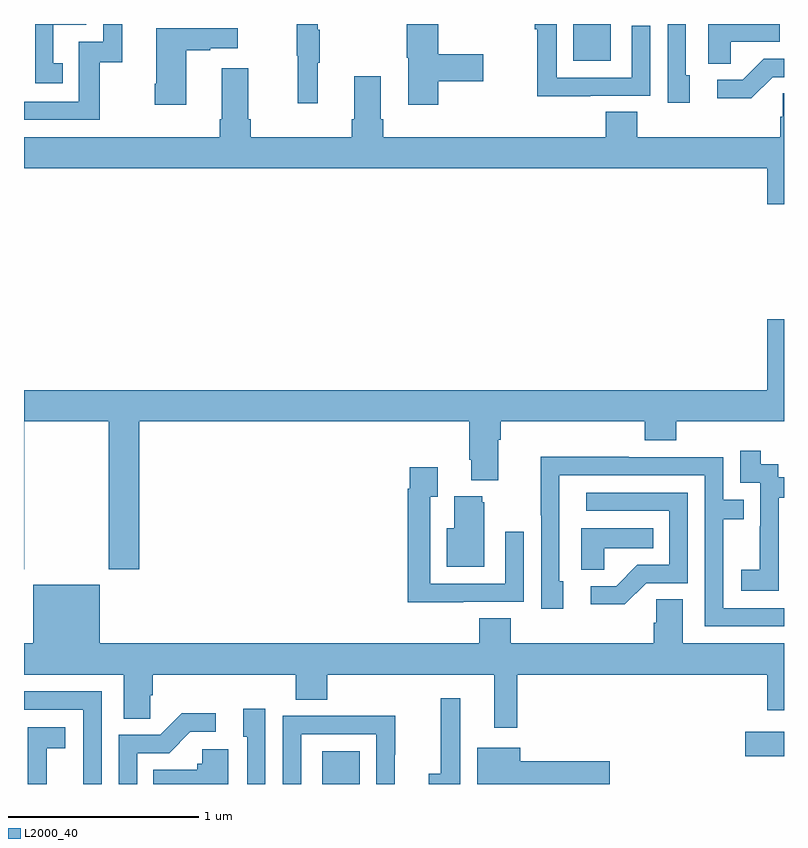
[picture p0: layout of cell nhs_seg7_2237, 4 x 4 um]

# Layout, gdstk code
import gdstk
lib = gdstk.Library(unit=1e-6, precision=1e-09)
def R(c, l, rs):  # rectangles x0, y0, x1, y1
    for r in rs: c.add(gdstk.rectangle(r[:2], r[2:], *l))
def P(c, l, *ps):  # polygons
    for p in ps: c.add(gdstk.Polygon(p, *l))
L2000_40 = (2000, 40)

nhs_seg7_2237 = lib.new_cell('nhs_seg7_2237')
R(nhs_seg7_2237, L2000_40, [(258.569,1040,258.766,1040.173), (260.796,1040.146,261,1040.275), (259.892,1043.807,260.089,1044)])
P(nhs_seg7_2237, L2000_40, [(258.545,1043.795),(258.556,1043.795),(258.556,1043.969),(258.545,1043.969),(258.545,1044),(258.435,1044),(258.435,1043.832),(258.442,1043.832),(258.442,1043.583),(258.545,1043.583)],
  [(260.721,1043.906),(260.978,1043.906),(260.978,1044),(260.6,1044),(260.6,1043.791),(260.721,1043.791)],
  [(257.398,1043.799),(257.516,1043.799),(257.516,1044),(257.418,1044),(257.418,1043.907),(257.289,1043.907),(257.289,1043.592),(257,1043.592),(257,1043.496),(257.398,1043.496)],
  [(257.204,1043.793),(257.155,1043.793),(257.155,1043.997),(257.328,1043.997),(257.328,1044),(257.058,1044),(257.058,1043.688),(257.204,1043.688)],
  [(259.979,1043.622),(260.295,1043.622),(260.295,1043.992),(260.199,1043.992),(260.199,1043.718),(259.803,1043.718),(259.803,1044),(259.687,1044),(259.687,1043.972),(259.702,1043.972),(259.702,1043.621),(259.979,1043.621)],
  [(259.181,1043.698),(259.416,1043.698),(259.416,1043.84),(259.181,1043.84),(259.181,1044),(259.015,1044),(259.015,1043.823),(259.022,1043.823),(259.022,1043.574),(259.181,1043.574)],
  [(260.503,1043.73),(260.484,1043.73),(260.484,1044),(260.388,1044),(260.388,1043.586),(260.503,1043.586)],
  [(257.854,1043.863),(257.981,1043.863),(257.981,1043.873),(258.124,1043.873),(258.124,1043.977),(257.696,1043.977),(257.696,1043.686),(257.689,1043.686),(257.689,1043.574),(257.854,1043.574)],
  [(260.94,1043.721),(261,1043.721),(261,1043.817),(260.894,1043.817),(260.783,1043.706),(260.649,1043.706),(260.649,1043.609),(260.827,1043.609)],
  [(261,1043.636),(260.994,1043.636),(260.994,1043.513),(260.981,1043.513),(260.981,1043.404),(260.228,1043.404),(260.228,1043.537),(260.063,1043.537),(260.063,1043.404),(258.89,1043.404),(258.89,1043.5),(258.877,1043.5),(258.877,1043.725),(258.737,1043.725),(258.737,1043.5),(258.725,1043.5),(258.725,1043.404),(258.194,1043.404),(258.194,1043.5),(258.181,1043.5),(258.181,1043.767),(258.041,1043.767),(258.041,1043.5),(258.029,1043.5),(258.029,1043.404),(257,1043.404),(257,1043.24),(260.912,1043.24),(260.912,1043.052),(261,1043.052)],
  [(257.001,1041.908),(257.446,1041.908),(257.446,1041.129),(257.606,1041.129),(257.606,1041.908),(259.343,1041.908),(259.343,1041.706),(259.355,1041.706),(259.355,1041.599),(259.495,1041.599),(259.495,1041.812),(259.508,1041.812),(259.508,1041.908),(260.267,1041.908),(260.267,1041.809),(260.432,1041.809),(260.432,1041.908),(261,1041.908),(261,1042.447),(260.912,1042.447),(260.912,1042.072),(257,1042.072),(257,1041.129),(257.001,1041.129)],
  [(260.973,1041.223),(260.972,1041.223),(260.972,1041.507),(261,1041.507),(261,1041.615),(260.97,1041.615),(260.97,1041.684),(260.878,1041.684),(260.878,1041.754),(260.769,1041.754),(260.769,1041.585),(260.874,1041.585),(260.874,1041.356),(260.873,1041.356),(260.873,1041.127),(260.775,1041.127),(260.775,1041.017),(260.973,1041.017)],
  [(261,1040.925),(260.679,1040.925),(260.679,1041.394),(260.789,1041.394),(260.789,1041.495),(260.679,1041.495),(260.679,1041.72),(260.183,1041.72),(260.183,1041.722),(259.72,1041.722),(259.72,1041.415),(259.722,1041.415),(259.722,1040.922),(259.837,1040.922),(259.837,1041.066),(259.818,1041.066),(259.818,1041.624),(260.583,1041.624),(260.583,1040.829),(261,1040.829)],
  [(259.313,1040.958),(259.629,1040.958),(259.629,1041.328),(259.533,1041.328),(259.533,1041.054),(259.137,1041.054),(259.137,1041.511),(259.177,1041.511),(259.177,1041.667),(259.029,1041.667),(259.029,1041.554),(259.021,1041.554),(259.021,1040.957),(259.313,1040.957)],
  [(260.274,1041.057),(260.493,1041.057),(260.493,1041.534),(259.959,1041.534),(259.959,1041.438),(260.397,1041.438),(260.397,1041.153),(260.228,1041.153),(260.117,1041.042),(259.983,1041.042),(259.983,1040.945),(260.161,1040.945)],
  [(259.423,1041.483),(259.412,1041.483),(259.412,1041.514),(259.265,1041.514),(259.265,1041.346),(259.226,1041.346),(259.226,1041.143),(259.423,1041.143)],
  [(260.055,1041.242),(260.312,1041.242),(260.312,1041.346),(259.934,1041.346),(259.934,1041.127),(260.055,1041.127)],
  [(259.597,1040.576),(260.912,1040.576),(260.912,1040.388),(261,1040.388),(261,1040.74),(260.467,1040.74),(260.467,1040.972),(260.328,1040.972),(260.328,1040.849),(260.315,1040.849),(260.315,1040.74),(259.562,1040.74),(259.562,1040.873),(259.397,1040.873),(259.397,1040.74),(257.398,1040.74),(257.398,1041.049),(257.048,1041.049),(257.048,1040.74),(257,1040.74),(257,1040.576),(257.525,1040.576),(257.525,1040.344),(257.664,1040.344),(257.664,1040.467),(257.678,1040.467),(257.678,1040.576),(258.431,1040.576),(258.431,1040.443),(258.596,1040.443),(258.596,1040.576),(259.475,1040.576),(259.475,1040.295),(259.597,1040.295)],
  [(257.409,1040.487),(257,1040.487),(257,1040.391),(257.313,1040.391),(257.313,1040),(257.409,1040)],
  [(259.297,1040.452),(259.193,1040.452),(259.193,1040.053),(259.13,1040.053),(259.13,1040),(259.297,1040)],
  [(258.27,1040.395),(258.155,1040.395),(258.155,1040.25),(258.174,1040.25),(258.174,1040),(258.27,1040)],
  [(257.595,1040.163),(257.764,1040.163),(257.875,1040.274),(258.01,1040.274),(258.01,1040.372),(257.831,1040.372),(257.718,1040.259),(257.499,1040.259),(257.499,1040),(257.595,1040)],
  [(258.459,1040.262),(258.855,1040.262),(258.855,1040),(258.952,1040),(258.952,1040.155),(258.954,1040.155),(258.954,1040.36),(258.679,1040.36),(258.679,1040.358),(258.363,1040.358),(258.363,1040),(258.459,1040)],
  [(257.12,1040.189),(257.218,1040.189),(257.218,1040.299),(257.02,1040.299),(257.02,1040.093),(257.021,1040.093),(257.021,1040),(257.12,1040)],
  [(260.083,1040.121),(259.612,1040.121),(259.612,1040.191),(259.385,1040.191),(259.385,1040),(260.083,1040)],
  [(258.076,1040.182),(257.937,1040.182),(257.937,1040.106),(257.911,1040.106),(257.911,1040.074),(257.68,1040.074),(257.68,1040),(258.076,1040)])

lib.write_gds('nhs_seg7_2237.gds')
